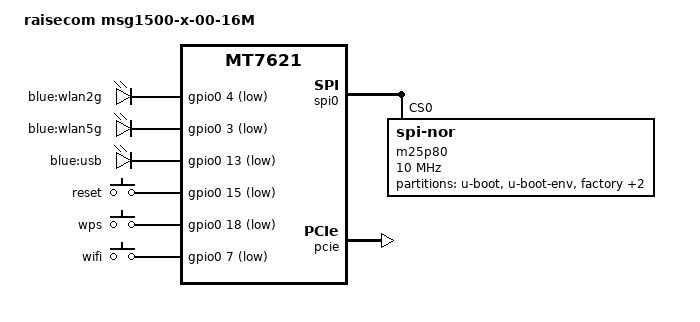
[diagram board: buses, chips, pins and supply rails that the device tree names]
/dts-v1/;

#include "mt7621.dtsi"

#include <dt-bindings/gpio/gpio.h>
#include <dt-bindings/input/input.h>
#include <dt-bindings/leds/common.h>

/ {
	compatible = "raisecom,msg1500-x-00-16M", "mediatek,mt7621-soc";
	model = "raisecom msg1500-x-00-16M";

	aliases {
		led-boot = &led_usb;
		led-failsafe = &led_usb;
		led-upgrade = &led_usb;
	};

	chosen {
		bootargs = "console=ttyS0,57600";
	};

	leds {
		compatible = "gpio-leds";


		wlan2g {
			label = "blue:wlan2g";
			gpios = <&gpio0 4 GPIO_ACTIVE_LOW>;
			linux,default-trigger = "phy0radio";
		};

		wlan5g {
			label = "blue:wlan5g";
			gpios = <&gpio0 3 GPIO_ACTIVE_LOW>;
			linux,default-trigger = "phy1radio";
		};

		led_usb: usb {
			label = "blue:usb";
			gpios = <&gpio0 13 GPIO_ACTIVE_LOW>;
			trigger-sources = <&ehci_port2>;
			linux,default-trigger = "usbport";
		};
	};

	keys {
		compatible = "gpio-keys-polled";
		poll-interval = <20>;

		reset {
			label = "reset";
			gpios = <&gpio0 15 GPIO_ACTIVE_LOW>;
			linux,code = <KEY_RESTART>;
		};

		wps {
			label = "wps";
			gpios = <&gpio0 18 GPIO_ACTIVE_LOW>;
			linux,code = <KEY_WPS_BUTTON>;
		};

		wifi {
			label = "wifi";
			gpios = <&gpio0 7 GPIO_ACTIVE_LOW>;
			linux,code = <KEY_RFKILL>;
		};
	};
};

&spi0 {
	status = "okay";

	m25p80@0 {
		compatible = "jedec,spi-nor";
		reg = <0>;
		spi-max-frequency = <10000000>;

		partitions {
			compatible = "fixed-partitions";
			#address-cells = <1>;
			#size-cells = <1>;

			partition@0 {
				label = "u-boot";
				reg = <0x0 0x30000>;
				read-only;
			};

			partition@30000 {
				label = "u-boot-env";
				reg = <0x30000 0x10000>;
				read-only;
			};

			factory: partition@40000 {
				label = "factory";
				reg = <0x40000 0x10000>;
				read-only;
			};

			partition@50000 {
				label = "permanent_config";
				reg = <0x50000 0x50000>;
				read-only;
			};

			partition@a0000 {
				compatible = "denx,uimage";
				label = "firmware";
				reg = <0xa0000 0xf60000>;
			};
		};
	};
};

&pcie {
	status = "okay";
};

&pcie0 {
	mt76@0,0 {
		reg = <0x0000 0 0 0 0>;
		mediatek,mtd-eeprom = <&factory 0x0>;
	};
};

&ethernet {
	mtd-mac-address = <&factory 0xe006>;
};

&pinctrl {
	state_default: pinctrl0 {
		gpio {
			ralink,group = "i2c", "jtag","uart3", "wdt";
			ralink,function = "gpio";
		};
	};
};
